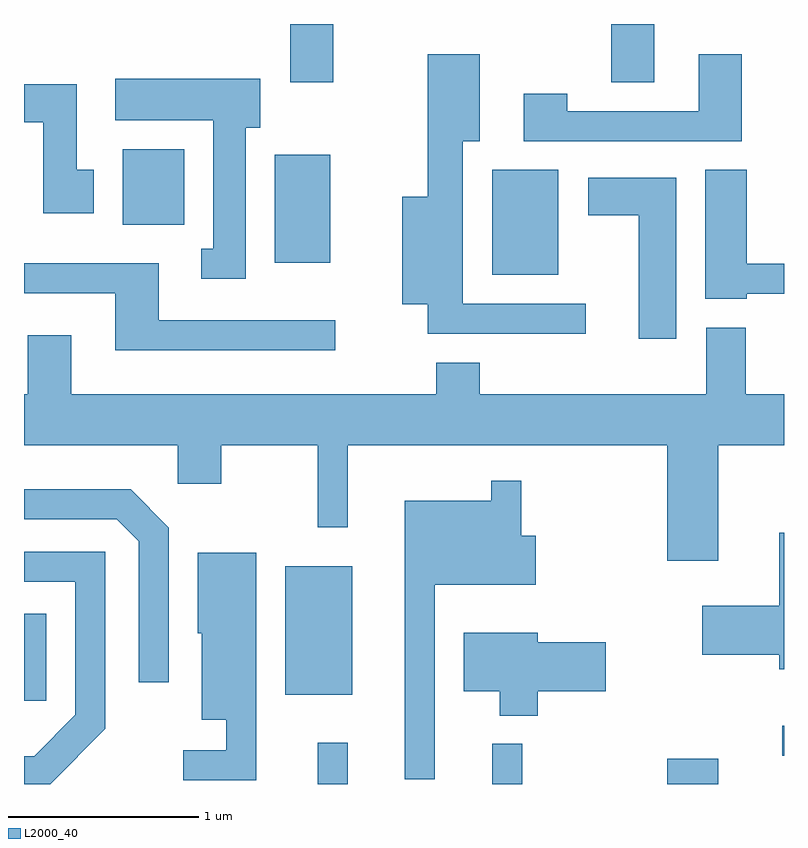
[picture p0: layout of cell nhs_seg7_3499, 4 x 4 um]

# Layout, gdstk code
import gdstk
lib = gdstk.Library(unit=1e-6, precision=1e-09)
def R(c, l, rs):  # rectangles x0, y0, x1, y1
    for r in rs: c.add(gdstk.rectangle(r[:2], r[2:], *l))
def P(c, l, *ps):  # polygons
    for p in ps: c.add(gdstk.Polygon(p, *l))
L2000_40 = (2000, 40)

nhs_seg7_3499 = lib.new_cell('nhs_seg7_3499')
R(nhs_seg7_3499, L2000_40, [(293.156,1770.252,293.314,1770.468), (294.076,1770.252,294.234,1770.463), (294.996,1770.252,295.264,1770.384), (295.603,1770.401,295.611,1770.559), (291.611,1770.691,291.729,1771.149), (292.986,1770.721,293.339,1771.399), (294.076,1772.931,294.424,1773.484), (292.931,1772.996,293.224,1773.564), (292.131,1773.196,292.454,1773.594), (293.011,1773.946,293.239,1774.252), (294.701,1773.946,294.929,1774.252)])
P(nhs_seg7_3499, L2000_40, [(294.568,1772.779),(293.919,1772.779),(293.919,1773.636),(294.009,1773.636),(294.009,1774.094),(293.736,1774.094),(293.736,1773.344),(293.601,1773.344),(293.601,1772.776),(293.736,1772.776),(293.736,1772.621),(294.568,1772.621)],
  [(295.389,1774.094),(295.161,1774.094),(295.161,1773.794),(294.469,1773.794),(294.469,1773.884),(294.241,1773.884),(294.241,1773.636),(295.389,1773.636)],
  [(292.779,1773.706),(292.854,1773.706),(292.854,1773.964),(292.091,1773.964),(292.091,1773.746),(292.606,1773.746),(292.606,1773.069),(292.543,1773.069),(292.543,1772.911),(292.779,1772.911)],
  [(291.979,1773.484),(291.889,1773.484),(291.889,1773.934),(291.611,1773.934),(291.611,1773.736),(291.711,1773.736),(291.711,1773.256),(291.979,1773.256)],
  [(295.414,1772.831),(295.611,1772.831),(295.611,1772.989),(295.414,1772.989),(295.414,1773.484),(295.196,1773.484),(295.196,1772.806),(295.414,1772.806)],
  [(295.044,1773.444),(294.581,1773.444),(294.581,1773.246),(294.846,1773.246),(294.846,1772.596),(295.044,1772.596)],
  [(293.248,1772.694),(292.319,1772.694),(292.319,1772.994),(291.611,1772.994),(291.611,1772.836),(292.091,1772.836),(292.091,1772.536),(293.248,1772.536)],
  [(295.264,1772.036),(295.611,1772.036),(295.611,1772.304),(295.409,1772.304),(295.409,1772.654),(295.201,1772.654),(295.201,1772.304),(294.009,1772.304),(294.009,1772.469),(293.781,1772.469),(293.781,1772.304),(291.859,1772.304),(291.859,1772.614),(291.631,1772.614),(291.631,1772.304),(291.611,1772.304),(291.611,1772.036),(292.421,1772.036),(292.421,1771.831),(292.649,1771.831),(292.649,1772.036),(293.156,1772.036),(293.156,1771.603),(293.314,1771.603),(293.314,1772.036),(294.996,1772.036),(294.996,1771.426),(295.264,1771.426)],
  [(293.774,1771.301),(294.304,1771.301),(294.304,1771.559),(294.229,1771.559),(294.229,1771.848),(294.071,1771.848),(294.071,1771.744),(293.616,1771.744),(293.616,1770.278),(293.774,1770.278)],
  [(292.374,1771.602),(292.172,1771.804),(291.611,1771.804),(291.611,1771.646),(292.099,1771.646),(292.216,1771.529),(292.216,1770.788),(292.374,1770.788)],
  [(295.611,1771.574),(295.586,1771.574),(295.586,1771.189),(295.181,1771.189),(295.181,1770.931),(295.586,1770.931),(295.586,1770.856),(295.611,1770.856)],
  [(292.039,1770.544),(292.039,1771.474),(291.611,1771.474),(291.611,1771.316),(291.881,1771.316),(291.881,1770.617),(291.664,1770.399),(291.611,1770.399),(291.611,1770.252),(291.748,1770.252)],
  [(292.834,1771.469),(292.526,1771.469),(292.526,1771.046),(292.546,1771.046),(292.546,1770.591),(292.676,1770.591),(292.676,1770.429),(292.448,1770.429),(292.448,1770.271),(292.834,1770.271)],
  [(294.314,1770.741),(294.674,1770.741),(294.674,1770.999),(294.314,1770.999),(294.314,1771.049),(293.926,1771.049),(293.926,1770.741),(294.116,1770.741),(294.116,1770.611),(294.314,1770.611)])

lib.write_gds('nhs_seg7_3499.gds')
